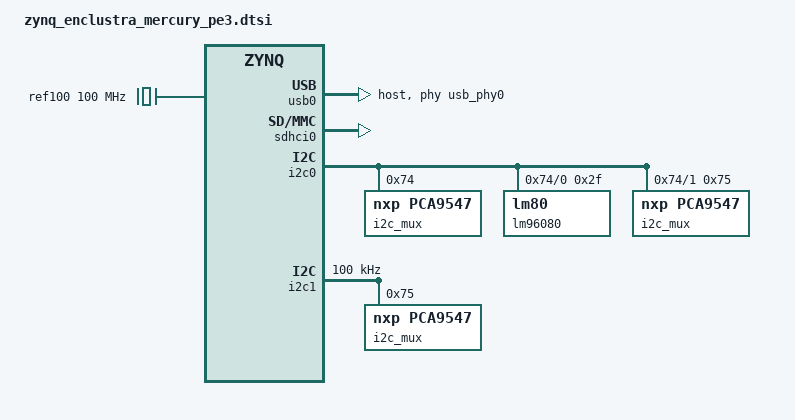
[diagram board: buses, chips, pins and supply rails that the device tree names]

/ {
	usb_phy0: phy0 {
		compatible = "ulpi-phy";
		#phy-cells = <0>;
		reg = <0xe0002000 0x1000>;
		view-port = <0x0170>;
		drv-vbus;
	};
};

&usb0 {
	status = "okay";
	dr_mode = "host";
	usb-phy = <&usb_phy0>;
};

&sdhci0 {
        u-boot,dm-pre-reloc;
        status = "okay";
        disable-wp;
};

&amba {
	ref100: ref100M {
		compatible = "fixed-clock";
		#clock-cells = <0>;
		clock-frequency = <100000000>;
	};
};

&i2c0 {
	i2c_mux@74 {
		compatible = "nxp,pca9547";
		reg = <0x74>;

		i2c_mux@0 {
			reg = <0>;

			lm96080@2f {
			  	   status = "okay";
				   compatible = "lm80";
				   reg = <0x2f >;
			};
		};

		i2c_mux@1 {
			reg = <1>;

			i2c_mux@75 {
				   compatible = "nxp,pca9547";
				   reg = <0x75>;

			};
		};
	};
};


&i2c1 {
	status = "okay";
	clock-frequency = <100000>;
	i2c_mux@75 {
		compatible = "nxp,pca9547";
		reg = <0x75>;
	};
};
